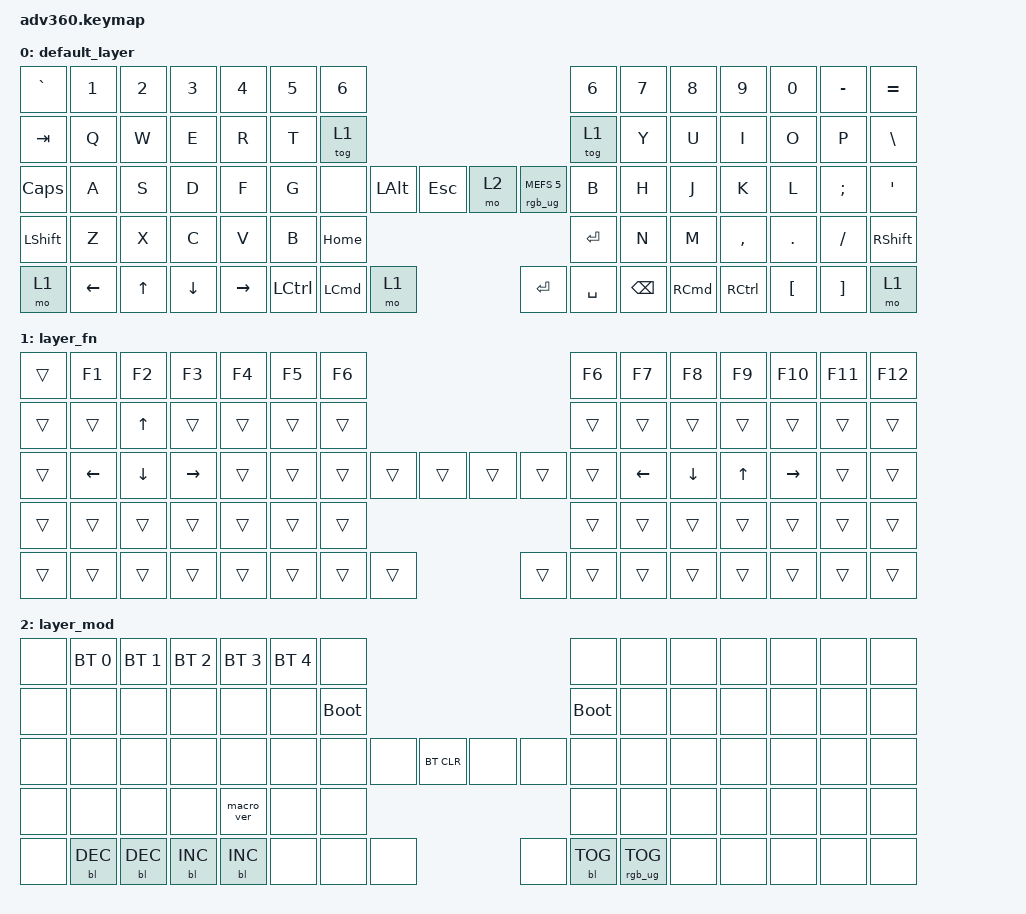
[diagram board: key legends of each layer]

/*
 * Copyright (c) 2020 The ZMK Contributors
 *
 * SPDX-License-Identifier: MIT
 */


/* THIS FILE WAS GENERATED!
 *
 * This file was generated automatically. You may or may not want to
 * edit it directly.
 */

#include <behaviors.dtsi>
#include <dt-bindings/zmk/keys.h>
#include <dt-bindings/zmk/rgb.h>
#include <dt-bindings/zmk/bt.h>
#include <dt-bindings/zmk/backlight.h>

/ {
  behaviors {
    #include "macros.dtsi"
    #include "version.dtsi"

    hm: homerow_mods {
        compatible = "zmk,behavior-hold-tap";
        label = "HOMEROW_MODS";
        #binding-cells = <2>;
        tapping-term-ms = <200>;
        quick_tap_ms = <175>;
        flavor = "tap-preferred";
        bindings = <&kp>, <&kp>;
    };
  };

    keymap {
        compatible = "zmk,keymap";


        default_layer {
            bindings = <
 &kp GRAVE          &kp N1        &kp N2          &kp N3     &kp N4  &kp N5                &kp NUMBER_6                                                                                  &kp NUMBER_6  &kp NUMBER_7       &kp NUMBER_8       &kp NUMBER_9  &kp NUMBER_0  &kp MINUS  &kp EQUAL
   &kp TAB           &kp Q         &kp W           &kp E      &kp R   &kp T                      &tog 1                                                                                        &tog 1         &kp Y              &kp U              &kp I         &kp O      &kp P   &kp BSLH
  &kp CAPS           &kp A         &kp S           &kp D      &kp F   &kp G                       &none          &kp LALT   &kp ESC                      &mo 2  &rgb_ug RGB_MEFS_CMD 5          &kp B         &kp H              &kp J              &kp K         &kp L   &kp SEMI    &kp SQT
 &kp LSHFT           &kp Z         &kp X           &kp C      &kp V   &kp B                                                &kp HOME                  &kp ENTER                                                &kp N              &kp M          &kp COMMA       &kp DOT   &kp FSLH  &kp RSHFT
     &mo 1  &kp LEFT_ARROW  &kp UP_ARROW  &kp DOWN_ARROW  &kp RIGHT                    &kp LEFT_CONTROL  &kp LEFT_COMMAND     &mo 1                  &kp ENTER               &kp SPACE  &kp BACKSPACE                &kp RIGHT_COMMAND  &kp RIGHT_CONTROL      &kp LBKT   &kp RBKT      &mo 1
            >;
        };

        layer_fn {
            bindings = <
 &trans          &kp F1          &kp F2           &kp F3  &kp F4  &kp F5            &kp F6                                                  &kp F6          &kp F7          &kp F8        &kp F9          &kp F10  &kp F11  &kp F12
 &trans          &trans    &kp UP_ARROW           &trans  &trans  &trans            &trans                                                  &trans          &trans          &trans        &trans           &trans   &trans   &trans
 &trans  &kp LEFT_ARROW  &kp DOWN_ARROW  &kp RIGHT_ARROW  &trans  &trans            &trans  &trans  &trans                  &trans  &trans  &trans  &kp LEFT_ARROW  &kp DOWN_ARROW  &kp UP_ARROW  &kp RIGHT_ARROW   &trans   &trans
 &trans          &trans          &trans           &trans  &trans  &trans                            &trans                  &trans                          &trans          &trans        &trans           &trans   &trans   &trans
 &trans          &trans          &trans           &trans  &trans                    &trans  &trans  &trans                  &trans  &trans  &trans                          &trans        &trans           &trans   &trans   &trans
            >;
        };

        layer_mod {
            bindings = <
  &none  &bt BT_SEL 0  &bt BT_SEL 1  &bt BT_SEL 2  &bt BT_SEL 3  &bt BT_SEL 4                  &none                                                                    &none   &none   &none   &none   &none   &none   &none
  &none         &none         &none         &none         &none         &none            &bootloader                                                              &bootloader   &none   &none   &none   &none   &none   &none
  &none         &none         &none         &none         &none         &none                  &none   &none  &bt BT_CLR                   &none       &none            &none   &none   &none   &none   &none   &none   &none
  &none         &none         &none         &none    &macro_ver         &none                                      &none                   &none                                &none   &none   &none   &none   &none   &none
  &none    &bl BL_DEC    &bl BL_DEC    &bl BL_INC    &bl BL_INC                                &none   &none       &none                   &none  &bl BL_TOG  &rgb_ug RGB_TOG           &none   &none   &none   &none   &none
            >;
        };

    };
};
